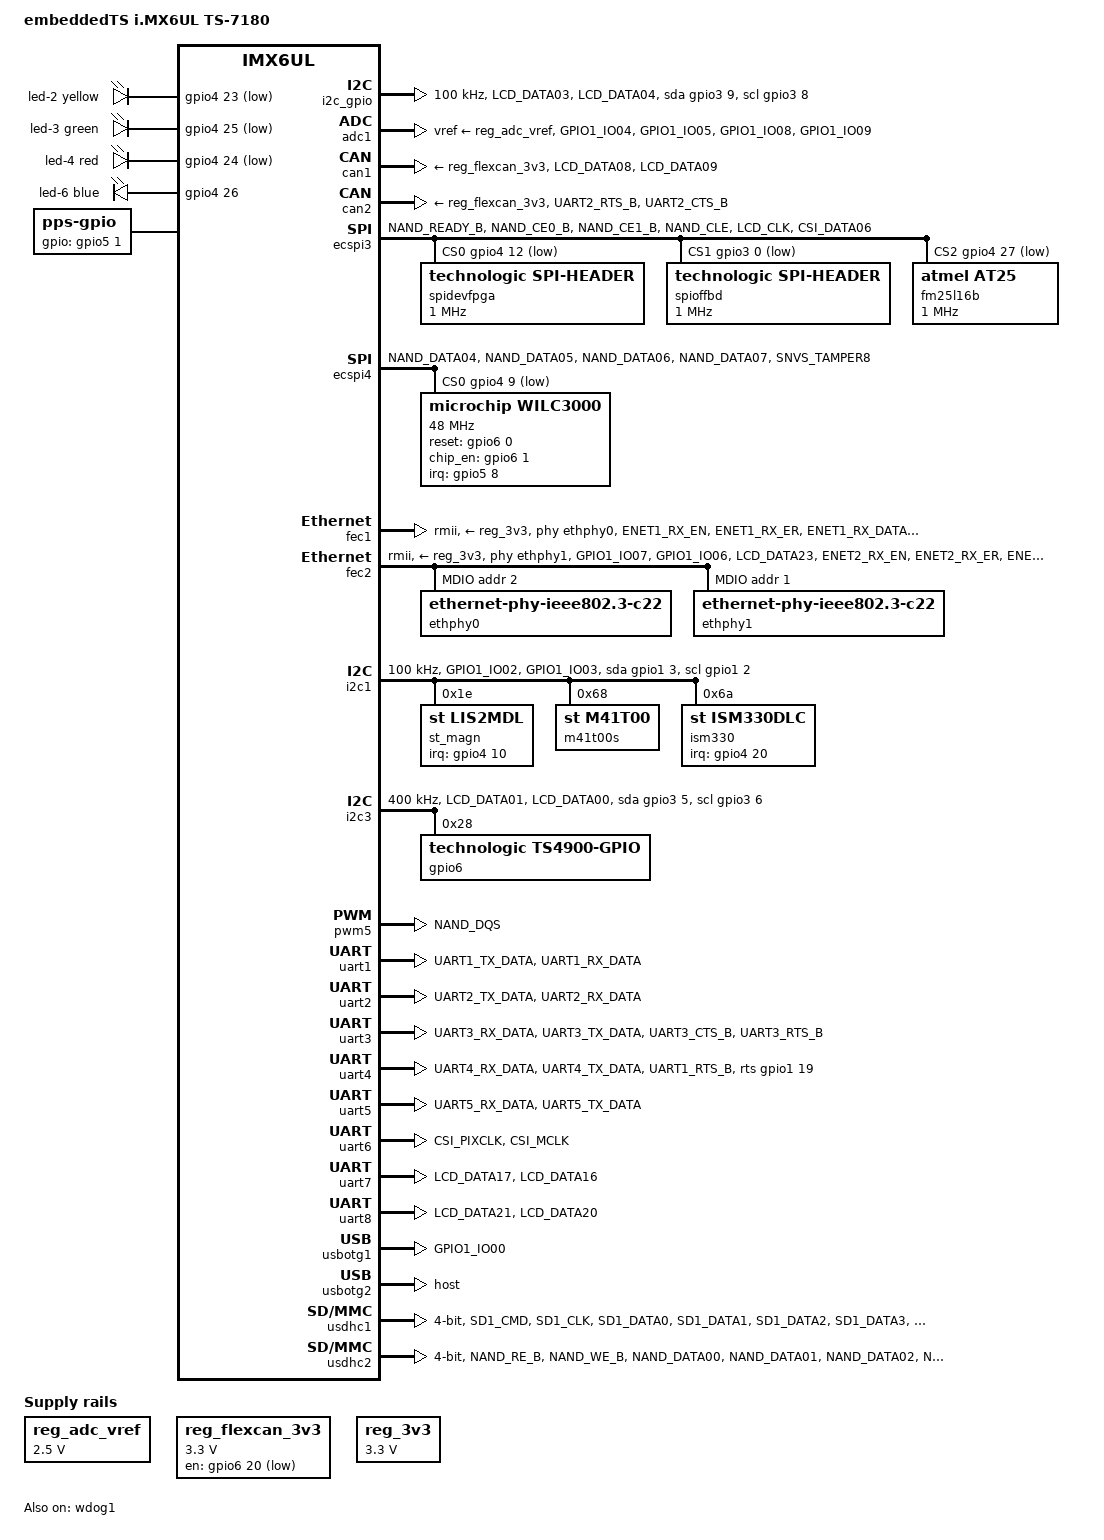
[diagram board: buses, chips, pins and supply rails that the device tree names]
// SPDX-License-Identifier: GPL-2.0 OR X11
/*
 * Copyright (C) 2021-2023 Technologic Systems, Inc. dba embeddedTS
 */

/dts-v1/;
#include <dt-bindings/input/input.h>
#include <dt-bindings/leds/common.h>
#include "imx6ul.dtsi"

/ {
	model = "embeddedTS i.MX6UL TS-7180";
	compatible = "technologic,ts7180", "fsl,imx6ul";

	aliases {
		ethernet0 = &fec2;
		ethernet1 = &fec1;
	};

	chosen {
		stdout-path = &uart1;
	};

	memory@80000000 {
                device_type = "memory";
                /* Memory size is to be filled in by U-Boot */
		reg = <0x80000000 0>;
	};

	led-controller {
		pinctrl-names = "default";
		pinctrl-0 = <&pinctrl_gpio_leds>;
		compatible = "gpio-leds";

		led-2 {
			color = <LED_COLOR_ID_YELLOW>;
			function = LED_FUNCTION_INDICATOR;
			gpios = <&gpio4 23 GPIO_ACTIVE_LOW>;
			default-state = "off";
		};

		led-3 {
			color = <LED_COLOR_ID_GREEN>;
			function = LED_FUNCTION_POWER;
			gpios = <&gpio4 25 GPIO_ACTIVE_LOW>;
			default-state = "on";
		};

		led-4 {
			color = <LED_COLOR_ID_RED>;
			function = LED_FUNCTION_STATUS;
			gpios = <&gpio4 24 GPIO_ACTIVE_LOW>;
			default-state = "off";
		};

		led-6 {
			color = <LED_COLOR_ID_BLUE>;
			function = LED_FUNCTION_INDICATOR;
			gpios = <&gpio4 26 GPIO_ACTIVE_HIGH>;
			default-state = "off";
		};
	};

	reg_adc_vref: adc_vref {
		compatible = "regulator-fixed";
		regulator-name = "ADC_VREF";
		regulator-min-microvolt = <2500000>;
		regulator-max-microvolt = <2500000>;
		regulator-always-on;
	};

	reg_flexcan_3v3: en-can {
		compatible = "regulator-fixed";
		regulator-name = "CAN_EN";
		regulator-min-microvolt = <3300000>;
		regulator-max-microvolt = <3300000>;
		gpio = <&gpio6 20 GPIO_ACTIVE_HIGH>;
	};

	reg_3v3: regulator-3v3 {
		compatible = "regulator-fixed";
		regulator-name = "3V3";
		regulator-min-microvolt = <3300000>;
		regulator-max-microvolt = <3300000>;
		regulator-always-on;
	};

        i2c_gpio: i2c {
	        compatible = "i2c-gpio";
	        clock-frequency = <100000>;
	        pinctrl-names = "default";
	        pinctrl-0 = <&pinctrl_i2c_gpio>;
	        scl-gpios = <&gpio3 8 (GPIO_ACTIVE_HIGH | GPIO_OPEN_DRAIN)>;   /* I2C_CLK on HD12 pin 6 */
	        sda-gpios = <&gpio3 9 (GPIO_ACTIVE_HIGH | GPIO_OPEN_DRAIN)>;   /* I2C_DAT on HD12 pin 1 */
	        #address-cells = <1>;
	        #size-cells = <0>;
        };

	pps {
		compatible = "pps-gpio";
		pinctrl-names = "default";
		pinctrl-0 = <&pinctrl_ppsgpio>;
		gpios = <&gpio5 1 GPIO_ACTIVE_HIGH>;
	};
};

&adc1 {
	pinctrl-names = "default";
	pinctrl-0 = <&pinctrl_adc>;
	vref-supply = <&reg_adc_vref>;
	status = "okay";
};

&can1 {
	pinctrl-names = "default";
	pinctrl-0 = <&pinctrl_flexcan1>;
	xceiver-supply = <&reg_flexcan_3v3>;
	status = "okay";
};

&can2 {
	pinctrl-names = "default";
	pinctrl-0 = <&pinctrl_flexcan2>;
	xceiver-supply = <&reg_flexcan_3v3>;
	status = "okay";
};

&ecspi3 {
	fsl,num-cs = <3>;
	cs-gpios = <&gpio4 12 GPIO_ACTIVE_LOW>, <&gpio3 0 GPIO_ACTIVE_LOW>, <&gpio4 27 GPIO_ACTIVE_LOW>;
	pinctrl-names = "default";
	pinctrl-0 = <&pinctrl_ecspi3>;
	status = "okay";

	spidevfpga: spi@0 {
		compatible = "technologic,spi-header";
		reg = <0>;
		spi-max-frequency = <1000000>;
	};

	spioffbd: spi@1 {
		compatible = "technologic,spi-header";
		reg = <1>;
		spi-cs-high;
		spi-max-frequency = <1000000>;
	};

	/* This is actually the FRAM, which is compatible with the AT25 SPI EEPROM */
	fm25l16b: eeprom@2 {
		compatible = "atmel,at25";
		reg = <2>;
		spi-max-frequency = <1000000>;
		size = <0x800>;
		address-width = <16>;
		pagesize = <64>;
	};
};

&ecspi4 {
	fsl,num-cs = <1>;
	cs-gpios = <&gpio4 9 GPIO_ACTIVE_LOW>;
	pinctrl-names = "default";
	pinctrl-0 = <&pinctrl_ecspi4>;
	status = "okay";

	wilc3000: wifi@0 {
		compatible = "microchip,wilc3000";
		reg = <0>;
		spi-max-frequency = <48000000>;
		reset-gpios = <&gpio6 0 GPIO_ACTIVE_HIGH>;
		chip_en-gpios = <&gpio6 1 GPIO_ACTIVE_HIGH>;
		interrupt-parent = <&gpio5>;
		interrupts = <8 IRQ_TYPE_EDGE_FALLING>;
	 };
};

&fec1 {
	pinctrl-names = "default";
	pinctrl-0 = <&pinctrl_enet1>;
	phy-mode = "rmii";
	phy-handle = <&ethphy0>;
	phy-supply = <&reg_3v3>;
	status = "okay";
};

&fec2 {
	pinctrl-names = "default";
	pinctrl-0 = <&pinctrl_enet2>;
	phy-mode = "rmii";
	phy-handle = <&ethphy1>;
	phy-supply = <&reg_3v3>;
	status = "okay";

	mdio {
		#address-cells = <1>;
		#size-cells = <0>;

		ethphy0: ethernet-phy@2 {
			clocks = <&clks IMX6UL_CLK_ENET_REF>;
			clock-names = "rmii-ref";
			compatible = "ethernet-phy-ieee802.3-c22";
			reg = <2>;
		};

		ethphy1: ethernet-phy@1 {
			clocks = <&clks IMX6UL_CLK_ENET_REF>;
			clock-names = "rmii-ref";
			compatible = "ethernet-phy-ieee802.3-c22";
			reg = <1>;
		};
	};
};

&gpio1 {
	gpio-line-names =
			"BOOT_MODE_0", "",            "I2C_1_CLK",   "I2C_1_DAT",
			"",            "",            "",            "",
			"",            "",            "",            "",
			"",            "",            "",            "",
			"",            "",            "SPARE_1",     "EN_485",
			"",            "",            "",            "",
			"",            "",            "UART3_CTS#",  "UART3_RTS#",
			"",            "",            "",            "",
			"",            "",            "",            "",
			"",            "",            "",            "",
			"",            "",            "",            "",
			"",            "",            "",            "",
			"",            "",            "",            "",
			"",            "",            "",            "",
			"",            "",            "",            "",
			"",            "",            "",            "";
};

&gpio2 {
	gpio-line-names =
			"", "", "", "", "", "", "", "",
			"", "", "", "", "", "", "", "",
			"", "", "", "", "", "", "", "",
			"", "", "", "", "", "", "", "";
};

&gpio3 {
	gpio-line-names =
			"HD12_SPI_CS",    "JTAG_FPGA_TCK",  "JTAG_FPGA_TMS",  "JTAG_FPGA_TDI",
			"WDOG#",          "I2C_3_DAT",      "I2C_3_CLK",      "",
			"HD12_I2C_CLK",   "HD12_I2C_DAT",   "HD12_DIG_INPUT", "NO_CHRG_JMP#",
			"EN_NIM_USB#",    "",               "",               "XBEE_CTS#",
			"U_BOOT_JMP#",    "",               "PUSH_SW_CPU#",   "NIMBEL_PWR_ON",
			"",               "",               "",               "ID4",
			"JTAG_FPGA_TDO",  "",               "",               "ID1",
			"ETH_PHY_RESET#", "",               "",               "";
};

&gpio4 {
	gpio-line-names =
			"",                "",                "",                "",
			"",                "",                "SPI_4_CLK",       "SPI_4_MOSI",
			"SPI_4_MISO",      "SPI_4_CS#",       "MAG_N_IRQ",       "FPGA_RESET#",
			"SPI_3_FPGA_CS#",  "SPI_3_CLK",       "SPI_3_MOSI",      "SPI_3_MISO",
			"PWM_5",           "",                "",                "ID5",
			"GYRO_INT",        "6UL_FORCE_5V_ON", "EN_EMMC_3.3V#",   "EN_YEL_LED#",
			"EN_RED_LED#",     "EN_GRN_LED#",     "EN_BLU_LED",      "FRAM_SPI_CS#",
			"SD_VSEL_1.8V",    "",                "",                "";
};

&gpio5 {
	gpio-line-names =
			"POWER_FAIL",     "GPS_PPS_OUT",    "",               "GPIO_DVFS",
			"",               "SILAB_C2_CLK",   "SILAB_C2_DATA",  "SILAB_C2_RESET",
			"SPARE_4",        "",               "",               "",
			"",               "",               "",               "",
			"",               "",               "",               "",
			"",               "",               "",               "",
			"",               "",               "",               "",
			"",               "",               "",               "";
};

&i2c1 {
	clock-frequency = <100000>;
	pinctrl-names = "default", "gpio";
	pinctrl-0 = <&pinctrl_i2c1>;
	pinctrl-1 = <&pinctrl_i2c1_gpio>;
	scl-gpios = <&gpio1 2 (GPIO_ACTIVE_HIGH | GPIO_OPEN_DRAIN)>;
	sda-gpios = <&gpio1 3 (GPIO_ACTIVE_HIGH | GPIO_OPEN_DRAIN)>;
	status = "okay";

	/*
         * Reference: Documentation/devicetree/bindings/iio/st-sensors.txt
	 *
	 *   - MAG_N_IRQ enters NAND_ALE/SD2_RST#/PWM3 pad B4
	 *   - as well as the FPGA
	 */
	st_magn: magnetometer@1e {
		compatible = "st,lis2mdl";
		reg = <0x1e>;
		st,drdy-int-pin = <1>;
		interrupt-parent = <&gpio4>;
		interrupts = <10 IRQ_TYPE_LEVEL_HIGH>;    /* See MX6UL_PAD_NAND_ALE__GPIO4_IO10 */
	};

	supervisor: wdt@54 {
		compatible = "technologic,ts7100-wdt";
		enable-early;
		/* 5min timeout default, in case of slow userspace.
		 * Set to 0 to disable WDT at startup. Userspace procs
		 * can still start feeding with different values later -
                 * watchdog(8) defaults to 60 seconds.
		 */
		timeout-sec = <300>;
		reg = <0x54>;

		/*
		 * Not using uC WDT by default any longer. If you need features
		 * provided by this, such as a real poweroff state, an external
		 * WDT, or proper feedback from the uC on the platform's reboot
		 * source (via tsmicroctl), then enable this driver (and disable
		 * the CPU driver, wdog1,  unless you want both active).
		 */

		status = "disabled";
	};

	m41t00s: rtc@68 {
		compatible = "st,m41t00";
		reg = <0x68>;
	};

	/*
	 * Reference: Documentation/devicetree/bindings/iio/imu/st_lsm6dsx.txt
	 *
	 *   - GYRO_INT enters CSI_HSYNC (pad F3)
	 */
	ism330: gyro@6a {
		compatible = "st,ism330dlc";
		reg = <0x6a>;
		interrupt-parent = <&gpio4>;
		interrupts = <20 IRQ_TYPE_LEVEL_HIGH>;    /* See MX6UL_PAD_CSI_HSYNC__GPIO4_IO20 */
	};
};

&i2c3 {
	clock-frequency = <400000>;
	pinctrl-names = "default", "gpio";
	pinctrl-0 = <&pinctrl_i2c3>;
	pinctrl-1 = <&pinctrl_i2c3_gpio>;
	status = "okay";
	scl-gpios = <&gpio3 6 (GPIO_ACTIVE_HIGH | GPIO_OPEN_DRAIN)>;
	sda-gpios = <&gpio3 5 (GPIO_ACTIVE_HIGH | GPIO_OPEN_DRAIN)>;

	gpio6: gpio@28 {
		compatible = "technologic,ts4900-gpio";
		reg = <0x28>;
		#gpio-cells = <2>;
		gpio-controller;
		base = <160>;
		ngpios = <64>;
	        gpio-line-names =
			"WIFI_RESET#",       "EN_WIFI_PWR",       "",                  "",
			"",                  "FRAM_WP#",          "EN_CL_1",           "EN_CL_2",
			"EN_CL_3",           "EN_CL_4",           "EN_ADC1_10V",       "EN_ADC2_10V",
			"EN_ADC3_10V",       "EN_ADC4_10V",       "EN_SD_POWER",       "EN_USB_HOST_5V",
			"EN_OFF_BD_5V",      "EN_CELL_MODEM_PWR", "EN_NIMBEL_3.3V",    "EN_GPS_PWR#",
			"EN_CAN_XVR#",       "EN_232_XVR",        "EN_LS_OUT_1",       "EN_LS_OUT_2",
			"EN_LS_OUT_3",       "EN_LS_OUT_4",       "EN_LS_OUT_5",       "EN_LS_OUT_6",
			"EN_LS_OUT_7",       "MT_RESET#",         "",                  "",
			"DIG_IN_1",          "DIG_IN_2",          "DIG_IN_3",          "DIG_IN_4",
			"SD_BOOT_JMP#",      "DIO_1_IN",          "DIO_2_IN",          "DIO_3_IN",
			"DIO_4_IN",          "DIO_5_IN",          "DIO_6_IN",          "DIO_7_IN",
			"",                  "",                  "",                  "",
			"",                  "",                  "",                  "",
			"",                  "",                  "",                  "",
			"",                  "",                  "",                  "",
			"",                  "",                  "",                  "";
	};
};

&iomuxc {
	pinctrl-names = "default";
	pinctrl-0 = <&pinctrl_hog>;
	imx6ul-ts7180 {
	        pinctrl_gpio_leds: leds1grp {
		        fsl,pins = <
				MX6UL_PAD_CSI_DATA02__GPIO4_IO23	0x1b020 /* EN_YEL_LED# */
				MX6UL_PAD_CSI_DATA03__GPIO4_IO24	0x1b020 /* EN_RED_LED# */
				MX6UL_PAD_CSI_DATA04__GPIO4_IO25	0x1b020 /* EN_GREEN_LED# */
				MX6UL_PAD_CSI_DATA05__GPIO4_IO26	0x1b020 /* EN_BLUE_LED */
		        >;
	        };

	        /* Pins that are always GPIO */
		pinctrl_hog: hoggrp {
			fsl,pins = <
				MX6UL_PAD_UART1_CTS_B__GPIO1_IO18 	0x1b020 /* SPARE_1 */
				MX6UL_PAD_SNVS_TAMPER0__GPIO5_IO00	0x10020 /* POWER_FAIL */
				MX6UL_PAD_SNVS_TAMPER5__GPIO5_IO05	0x10020 /* SILAB_C2_CLK */
				MX6UL_PAD_SNVS_TAMPER6__GPIO5_IO06	0x10020 /* SILAB_C2_DAT */
				MX6UL_PAD_SNVS_TAMPER7__GPIO5_IO07	0x10020 /* SILAB_C2_RESET */
				MX6UL_PAD_SNVS_TAMPER2__GPIO5_IO02	0x1b020 /* EN_FPGA_PWR on REV C and below */
				MX6UL_PAD_LCD_DATA05__GPIO3_IO10	0x10020 /* HD12_DIG_INPUT */
				MX6UL_PAD_LCD_DATA06__GPIO3_IO11	0x10020 /* NO_CHRG_JMP# */
				MX6UL_PAD_LCD_DATA07__GPIO3_IO12	0x10020 /* EN_NIM_USB# */
				MX6UL_PAD_LCD_DATA11__GPIO3_IO16	0x10020 /* U_BOOT_JMP# */
				MX6UL_PAD_LCD_DATA13__GPIO3_IO18	0x10000 /* PUSH_SW_CPU# */
				MX6UL_PAD_LCD_DATA14__GPIO3_IO19	0x1b020 /* NIMBEL_PWR_ON */
				MX6UL_PAD_LCD_DATA18__GPIO3_IO23	0x1b020 /* ID4 */
				MX6UL_PAD_LCD_DATA22__GPIO3_IO27	0x1b020 /* ID1 */
				MX6UL_PAD_NAND_ALE__GPIO4_IO10  	0x03020 /* MAG_N_IRQ */
				MX6UL_PAD_NAND_WP_B__GPIO4_IO11		0x1b020 /* FPGA_RESET# */
				MX6UL_PAD_LCD_DATA19__GPIO3_IO24	0x1b020 /* JTAG_FPGA_TDO */
				MX6UL_PAD_LCD_VSYNC__GPIO3_IO03		0x1b020 /* JTAG_FPGA_TDI */
				MX6UL_PAD_LCD_HSYNC__GPIO3_IO02		0x1b020 /* JTAG_FPGA_TMS */
				MX6UL_PAD_LCD_ENABLE__GPIO3_IO01	0x1b020 /* JTAG_FPGA_TCK */
				MX6UL_PAD_CSI_DATA00__GPIO4_IO21	0x10020 /* 6UL_FORCE_5V_ON */
				/* EN_YEL_LED# in pinctrl_gpio_leds */
				/* EN_RED_LED# in pinctrl_gpio_leds */
				/* EN_GREEN_LED# in pinctrl_gpio_leds  */
				/* EN_BLUE_LED in pinctrl_gpio_leds  */
				MX6UL_PAD_LCD_DATA06__GPIO3_IO11	0x1b020 /* NO_CHRG_JMP# */
				MX6UL_PAD_CSI_VSYNC__GPIO4_IO19		0x1b020 /* ID5 */
				MX6UL_PAD_CSI_HSYNC__GPIO4_IO20		0x03020 /* GYRO_INT */
			>;
		};

		pinctrl_ppsgpio: ppsgrp {
			fsl,pins = <
				MX6UL_PAD_SNVS_TAMPER1__GPIO5_IO01	0x1a020
			>;
		};

		pinctrl_pwm5: ts7180pwm5 {
			fsl,pins = <
				MX6UL_PAD_NAND_DQS__PWM5_OUT         0x13020 /* SPARE_3 */
			>;
		};

		pinctrl_usb_otg1_id: usbotg1idgrp {
			fsl,pins = <
				MX6UL_PAD_GPIO1_IO00__ANATOP_OTG1_ID	0x17059
			>;
		};

		pinctrl_flexcan1: flexcan1grp{
			fsl,pins = <
				MX6UL_PAD_LCD_DATA08__FLEXCAN1_TX	0x1b020
				MX6UL_PAD_LCD_DATA09__FLEXCAN1_RX	0x1b020
			>;
		};

		pinctrl_flexcan2: flexcan2grp{
			fsl,pins = <
				MX6UL_PAD_UART2_RTS_B__FLEXCAN2_RX	0x1b020
				MX6UL_PAD_UART2_CTS_B__FLEXCAN2_TX	0x1b020
			>;
		};

		pinctrl_uart1: uart1grp {
			fsl,pins = <
				MX6UL_PAD_UART1_TX_DATA__UART1_DCE_TX 0x1b0b1
				MX6UL_PAD_UART1_RX_DATA__UART1_DCE_RX 0x1b0b1
			>;
		};

		pinctrl_uart2: uart2grp {
			fsl,pins = <
				MX6UL_PAD_UART2_TX_DATA__UART2_DCE_TX	0x1b0b1
				MX6UL_PAD_UART2_RX_DATA__UART2_DCE_RX	0x1b0b1
			>;
		};

		pinctrl_uart3: uart3grp {
			fsl,pins = <
				MX6UL_PAD_UART3_RX_DATA__UART3_DCE_RX	0x1b0b1
				MX6UL_PAD_UART3_TX_DATA__UART3_DCE_TX	0x1b0b1
				MX6UL_PAD_UART3_CTS_B__UART3_DCE_CTS	0x1b0b1
				MX6UL_PAD_UART3_RTS_B__UART3_DCE_RTS	0x1b0b1
			>;
		};

		pinctrl_uart4: uart4grp {
			fsl,pins = <
				MX6UL_PAD_UART4_RX_DATA__UART4_DCE_RX	0x1b0b1
				MX6UL_PAD_UART4_TX_DATA__UART4_DCE_TX	0x1b0b1
				MX6UL_PAD_UART1_RTS_B__GPIO1_IO19    0x13020 /* SPARE_2 EN_485 */

			>;
		};

		pinctrl_uart5: uart5grp {
			fsl,pins = <
				MX6UL_PAD_UART5_RX_DATA__UART5_DCE_RX	0x1b0b1
				MX6UL_PAD_UART5_TX_DATA__UART5_DCE_TX	0x1b0b1
			>;
		};

		pinctrl_uart6: uart6grp {
			fsl,pins = <
				MX6UL_PAD_CSI_PIXCLK__UART6_DCE_RX	0x1b0b1
				MX6UL_PAD_CSI_MCLK__UART6_DCE_TX	0x1b0b1
			>;
		};

		pinctrl_uart7: uart7grp {
			fsl,pins = <
				MX6UL_PAD_LCD_DATA17__UART7_DCE_RX	0x1b0b1
				MX6UL_PAD_LCD_DATA16__UART7_DCE_TX	0x1b0b1
			>;
		};

		pinctrl_uart8: uart8grp {
			fsl,pins = <
				MX6UL_PAD_LCD_DATA21__UART8_DCE_RX	0x1b0b1  /* RXD_GPS */
				MX6UL_PAD_LCD_DATA20__UART8_DCE_TX	0x1b0b1	/* TXD_GPS */
			>;
		};

		pinctrl_enet1: enet1grp {
			fsl,pins = <
				MX6UL_PAD_ENET1_RX_EN__ENET1_RX_EN	0x1b0b0
				MX6UL_PAD_ENET1_RX_ER__ENET1_RX_ER	0x1b0b0
				MX6UL_PAD_ENET1_RX_DATA0__ENET1_RDATA00	0x1b0b0
				MX6UL_PAD_ENET1_RX_DATA1__ENET1_RDATA01	0x1b0b0
				MX6UL_PAD_ENET1_TX_EN__ENET1_TX_EN	0x1b0b0
				MX6UL_PAD_ENET1_TX_DATA0__ENET1_TDATA00	0x1b0b0
				MX6UL_PAD_ENET1_TX_DATA1__ENET1_TDATA01	0x1b0b0
				MX6UL_PAD_ENET1_TX_CLK__ENET1_REF_CLK1	0x4001b031
			>;
		};

		pinctrl_enet2: enet2grp {
			fsl,pins = <
				MX6UL_PAD_GPIO1_IO07__ENET2_MDC		0x1b0b0
				MX6UL_PAD_GPIO1_IO06__ENET2_MDIO	0x1b0b0
				MX6UL_PAD_LCD_DATA23__GPIO3_IO28	0x1a020
				MX6UL_PAD_ENET2_RX_EN__ENET2_RX_EN	0x1b0b0
				MX6UL_PAD_ENET2_RX_ER__ENET2_RX_ER	0x1b0b0
				MX6UL_PAD_ENET2_RX_DATA0__ENET2_RDATA00	0x1b0b0
				MX6UL_PAD_ENET2_RX_DATA1__ENET2_RDATA01	0x1b0b0
				MX6UL_PAD_ENET2_TX_EN__ENET2_TX_EN	0x1b0b0
				MX6UL_PAD_ENET2_TX_DATA0__ENET2_TDATA00	0x1b0b0
				MX6UL_PAD_ENET2_TX_DATA1__ENET2_TDATA01	0x1b0b0
				MX6UL_PAD_ENET2_TX_CLK__ENET2_REF_CLK2	0x4001b031
			>;
		};

		pinctrl_i2c1: i2c1grp {
			fsl,pins = <
				MX6UL_PAD_GPIO1_IO02__I2C1_SCL 0x4001b8b0
				MX6UL_PAD_GPIO1_IO03__I2C1_SDA 0x4001b8b0
			>;
		};

		pinctrl_i2c1_gpio: i2c1grpgpio {
			fsl,pins = <
				MX6UL_PAD_GPIO1_IO02__GPIO1_IO02 0x4001b8b0
				MX6UL_PAD_GPIO1_IO03__GPIO1_IO03 0x4001b8b0
			>;
		};

		pinctrl_i2c3: i2c3grp {
			fsl,pins = <
				MX6UL_PAD_LCD_DATA01__I2C3_SCL 0x4001b8b0
				MX6UL_PAD_LCD_DATA00__I2C3_SDA 0x4001b8b0
			>;
		};

		pinctrl_i2c3_gpio: i2c3grpgpio {
			fsl,pins = <
				MX6UL_PAD_LCD_DATA01__GPIO3_IO06 0x4001b8b0
				MX6UL_PAD_LCD_DATA00__GPIO3_IO05 0x4001b8b0
			>;
		};

		pinctrl_i2c_gpio: i2cgrpgpio {
			fsl,pins = <
				MX6UL_PAD_LCD_DATA03__GPIO3_IO08 0x000108b0	/* HD12_I2C_CLK */
				MX6UL_PAD_LCD_DATA04__GPIO3_IO09 0x000108b0	/* HD12_I2C_DAT */
			>;
		};

		pinctrl_usdhc1: usdhc1grp {
			fsl,pins = <
				MX6UL_PAD_SD1_CMD__USDHC1_CMD        0x17059
				MX6UL_PAD_SD1_CLK__USDHC1_CLK        0x10071
				MX6UL_PAD_SD1_DATA0__USDHC1_DATA0    0x17059
				MX6UL_PAD_SD1_DATA1__USDHC1_DATA1    0x17059
				MX6UL_PAD_SD1_DATA2__USDHC1_DATA2    0x17059
				MX6UL_PAD_SD1_DATA3__USDHC1_DATA3    0x17059

				MX6UL_PAD_CSI_DATA07__USDHC1_VSELECT     0x17059  /* SD1 VSELECT */
			>;
		};

		pinctrl_wdog: wdoggrp {
			fsl,pins = <
				MX6UL_PAD_LCD_RESET__WDOG1_WDOG_ANY    0x30b0
			>;
		};

		pinctrl_adc: adcgrp {
			fsl,pins = <
				MX6UL_PAD_GPIO1_IO04__GPIO1_IO04       0x1b020   /* ADC_1 */
				MX6UL_PAD_GPIO1_IO05__GPIO1_IO05       0x1b020   /* ADC_2 */
				MX6UL_PAD_GPIO1_IO08__GPIO1_IO08       0x1b020   /* ADC_3 */
				MX6UL_PAD_GPIO1_IO09__GPIO1_IO09       0x1b020   /* ADC_4 */

			>;
		};

		pinctrl_usdhc1_100mhz: usdhc1grp100mhz {
			fsl,pins = <
				MX6UL_PAD_SD1_CMD__USDHC1_CMD     0x170b9
				MX6UL_PAD_SD1_CLK__USDHC1_CLK     0x100b9
				MX6UL_PAD_SD1_DATA0__USDHC1_DATA0 0x170b9
				MX6UL_PAD_SD1_DATA1__USDHC1_DATA1 0x170b9
				MX6UL_PAD_SD1_DATA2__USDHC1_DATA2 0x170b9
				MX6UL_PAD_SD1_DATA3__USDHC1_DATA3 0x170b9
			>;
		};

		pinctrl_usdhc1_200mhz: usdhc1grp200mhz {
			fsl,pins = <
				MX6UL_PAD_SD1_CMD__USDHC1_CMD     0x170f9
				MX6UL_PAD_SD1_CLK__USDHC1_CLK     0x100f9
				MX6UL_PAD_SD1_DATA0__USDHC1_DATA0 0x170f9
				MX6UL_PAD_SD1_DATA1__USDHC1_DATA1 0x170f9
				MX6UL_PAD_SD1_DATA2__USDHC1_DATA2 0x170f9
				MX6UL_PAD_SD1_DATA3__USDHC1_DATA3 0x170f9
			>;
		};
		pinctrl_usdhc2: usdhc2grp {
			fsl,pins = <
				MX6UL_PAD_NAND_RE_B__USDHC2_CLK     0x10069
				MX6UL_PAD_NAND_WE_B__USDHC2_CMD     0x17059
				MX6UL_PAD_NAND_DATA00__USDHC2_DATA0 0x17059
				MX6UL_PAD_NAND_DATA01__USDHC2_DATA1 0x17059
				MX6UL_PAD_NAND_DATA02__USDHC2_DATA2 0x17059
				MX6UL_PAD_NAND_DATA03__USDHC2_DATA3 0x17059
				/* EN_EMMC */
				MX6UL_PAD_CSI_DATA01__GPIO4_IO22    0x1b020
			>;
		};

		pinctrl_ecspi3: ecspi3grp {
			fsl,pins = <
				MX6UL_PAD_NAND_READY_B__GPIO4_IO12  0x10b0 // SPI_3_FPGA_CS#
				MX6UL_PAD_NAND_CE0_B__ECSPI3_SCLK   0x10b0 // SPI_3_CLK
				MX6UL_PAD_NAND_CE1_B__ECSPI3_MOSI   0x10b0 // SPI_3_MOSI
				MX6UL_PAD_NAND_CLE__ECSPI3_MISO     0x10b0 // SPI_3_MISO
				MX6UL_PAD_LCD_CLK__GPIO3_IO00       0x10b0 // HD12_SPI_CS (active high)
				MX6UL_PAD_CSI_DATA06__GPIO4_IO27    0x10b0 // FRAM_SPI_CS#
			>;
		};

		pinctrl_ecspi4: ecspi4grp {
			fsl,pins = <
				MX6UL_PAD_NAND_DATA04__ECSPI4_SCLK  0x10b0
				MX6UL_PAD_NAND_DATA05__ECSPI4_MOSI  0x10b0
				MX6UL_PAD_NAND_DATA06__ECSPI4_MISO  0x10b0
				MX6UL_PAD_NAND_DATA07__GPIO4_IO09   0x10b0  // WIFI chip select
				MX6UL_PAD_SNVS_TAMPER8__GPIO5_IO08  0x1b020 // SPARE_4/WIFI_IRQ
			>;
		};

		pinctrl_dvfs: dvfsgrp {
			fsl,pins = <
				MX6UL_PAD_SNVS_TAMPER3__GPIO5_IO03	0x79
			>;
		};
	};
};

&pwm5 {
	pinctrl-names = "default";
	pinctrl-0 = <&pinctrl_pwm5>;
	status = "okay";
};

&snvs_rtc {
	status = "disabled";
};

&uart1 {
	pinctrl-names = "default";
	pinctrl-0 = <&pinctrl_uart1>;
	status = "okay";
};

&uart2 {
	pinctrl-names = "default";
	pinctrl-0 = <&pinctrl_uart2>;
	status = "okay";
};

&uart3 {
	pinctrl-names = "default";
	pinctrl-0 = <&pinctrl_uart3>;
	status = "okay";
	uart-has-rtscts;
};

&uart4 {
	pinctrl-names = "default";
	pinctrl-0 = <&pinctrl_uart4>;
	status = "okay";
	rts-gpios = <&gpio1 19 GPIO_ACTIVE_HIGH>;
	linux,rs485-enabled-at-boot-time;
};

&uart5 {
	pinctrl-names = "default";
	pinctrl-0 = <&pinctrl_uart5>;
	status = "okay";
};

&uart6 {
	pinctrl-names = "default";
	pinctrl-0 = <&pinctrl_uart6>;
	status = "okay";
};

&uart7 {
	pinctrl-names = "default";
	pinctrl-0 = <&pinctrl_uart7>;
	status = "okay";
};

&uart8 {
	pinctrl-names = "default";
	pinctrl-0 = <&pinctrl_uart8>;
	status = "okay";
};

&usbotg1 {
	pinctrl-names = "default";
	pinctrl-0 = <&pinctrl_usb_otg1_id>;
	srp-disable;
	hnp-disable;
	adp-disable;
	status = "okay";
};

&usbotg2 {
	dr_mode = "host";
	disable-over-current;
	status = "okay";
};

&usdhc1 {
	pinctrl-names = "default", "state_100mhz", "state_200mhz";
	pinctrl-0 = <&pinctrl_usdhc1>;
	pinctrl-1 = <&pinctrl_usdhc1_100mhz>;
	pinctrl-2 = <&pinctrl_usdhc1_200mhz>;
	max-frequency = <208000000>;
	keep-power-in-suspend;
	enable-sdio-wakeup;
	disable-wp;
	cap-sd-highspeed;
	sd-uhs-sdr12;
	sd-uhs-sdr25;
	sd-uhs-sdr50;
	sd-uhs-sdr104;
	sd-uhs-ddr50;
	broken-cd = <1>;
	bus-width = <4>;
	status = "okay";
};

&usdhc2 {
	pinctrl-names = "default";
	pinctrl-0 = <&pinctrl_usdhc2>;
	no-1-8-v;
	disable-wp;
	broken-cd = <1>;
	enable-sdio-wakeup;
	bus-width = <4>;
	status = "okay";
};

&wdog1 {
	pinctrl-names = "default";
	pinctrl-0 = <&pinctrl_wdog>;
	status = "okay";
	fsl,ext-reset-output;
};
